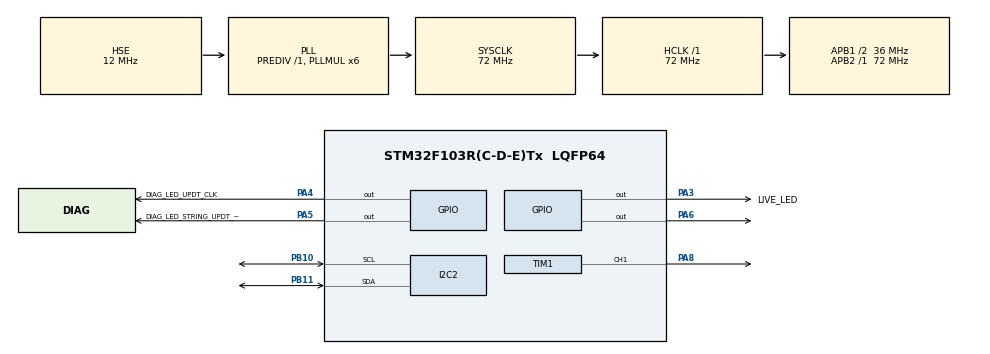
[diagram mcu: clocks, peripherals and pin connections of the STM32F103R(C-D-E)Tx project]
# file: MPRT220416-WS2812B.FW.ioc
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Dma.Request0=TIM1_CH1
Dma.TIM1_CH1.0.Direction=DMA_MEMORY_TO_PERIPH
Dma.TIM1_CH1.0.Instance=DMA1_Channel2
Dma.TIM1_CH1.0.MemDataAlignment=DMA_MDATAALIGN_WORD
Dma.TIM1_CH1.0.MemInc=DMA_MINC_ENABLE
Dma.TIM1_CH1.0.Mode=DMA_NORMAL
Dma.TIM1_CH1.0.PeriphDataAlignment=DMA_PDATAALIGN_WORD
Dma.TIM1_CH1.0.PeriphInc=DMA_PINC_DISABLE
Dma.TIM1_CH1.0.Priority=DMA_PRIORITY_LOW
Mcu.Family=STM32F1
Mcu.Name=STM32F103R(C-D-E)Tx
Mcu.Package=LQFP64
NVIC.DMA1_Channel2_IRQn=true\:0\:0\:false\:false\:true\:false\:true\:true
NVIC.PriorityGroup=NVIC_PRIORITYGROUP_4
PA10.Signal=USART1_RX
PA13.Mode=Trace_Asynchronous_SW
PA13.Signal=SYS_JTMS-SWDIO
PA14.Mode=Trace_Asynchronous_SW
PA14.Signal=SYS_JTCK-SWCLK
PA3.GPIO_Label=LIVE_LED
PA3.Signal=GPIO_Output
PA4.GPIO_Label=DIAG_LED_UPDT_CLK
PA4.Signal=GPIO_Output
PA5.GPIO_Label=DIAG_LED_STRING_UPDT_CLK
PA5.Signal=GPIO_Output
PA6.Signal=GPIO_Output
PA8.GPIO_ModeDefaultPP=GPIO_MODE_AF_PP
PA8.GPIO_Speed=GPIO_SPEED_FREQ_HIGH
PA8.Signal=S_TIM1_CH1
PA9.Signal=USART1_TX
PB10.Mode=I2C
PB10.Signal=I2C2_SCL
PB11.Mode=I2C
PB11.Signal=I2C2_SDA
PB3.Mode=Trace_Asynchronous_SW
PB3.Signal=SYS_JTDO-TRACESWO
PD0-OSC_IN.Mode=HSE-External-Oscillator
PD0-OSC_IN.Signal=RCC_OSC_IN
PD1-OSC_OUT.Mode=HSE-External-Oscillator
PD1-OSC_OUT.Signal=RCC_OSC_OUT
ProjectManager.HeapSize=0x200
ProjectManager.StackSize=0x400
ProjectManager.TargetToolchain=STM32CubeIDE
RCC.AHBFreq_Value=72000000
RCC.APB1CLKDivider=RCC_HCLK_DIV2
RCC.APB1Freq_Value=36000000
RCC.APB1TimFreq_Value=72000000
RCC.APB2Freq_Value=72000000
RCC.APB2TimFreq_Value=72000000
RCC.HCLKFreq_Value=72000000
RCC.HSE_VALUE=12000000
RCC.PLLMUL=RCC_PLL_MUL6
RCC.PLLSourceVirtual=RCC_PLLSOURCE_HSE
RCC.SYSCLKFreq_VALUE=72000000
RCC.SYSCLKSource=RCC_SYSCLKSOURCE_PLLCLK
RCC.USBFreq_Value=72000000
SH.S_TIM1_CH1.0=TIM1_CH1,PWM Generation1 CH1
TIM1.AutoReloadPreload=TIM_AUTORELOAD_PRELOAD_ENABLE
TIM1.Channel-PWM\ Generation1\ CH1=TIM_CHANNEL_1
TIM1.OC1Preload_PWM=ENABLE
TIM1.OCFastMode_PWM-PWM\ Generation1\ CH1=TIM_OCFAST_DISABLE
TIM1.Period=90
TIM1.Prescaler=0
TIM1.Pulse-PWM\ Generation1\ CH1=45
board=custom

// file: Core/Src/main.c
/* USER CODE BEGIN Header */
/**
  ******************************************************************************
  * @file           : main.c
  * @brief          : Main program body
  ******************************************************************************
  * @attention
  *
  * Copyright (c) 2022 STMicroelectronics.
  * All rights reserved.
  *
  * This software is licensed under terms that can be found in the LICENSE file
  * in the root directory of this software component.
  * If no LICENSE file comes with this software, it is provided AS-IS.
  *
  ******************************************************************************
  */
/* USER CODE END Header */
#include "main.h"

/* USER CODE BEGIN Includes */
#include <string.h>
#include <stdio.h>
#include <stdlib.h>
#include <ws2812b.h>
#include "LiveLed.h"
#include "vt100.h"
#include "ssd1306.h"

/* USER CODE END Includes */

/* USER CODE BEGIN PTD */
typedef struct _Device_t
{
  uint8_t DO;
  uint8_t DI;

  struct _Diag
  {
    uint32_t LcdTimeout;
    uint32_t UartUnknwonCnt;
    uint32_t UartErrorCnt;
    uint32_t UpTimeSec;
    uint32_t TransactionCnt;
  }Diag;

}Device_t;
/* USER CODE END PTD */

/* USER CODE BEGIN PD */

#define LED_COUNT   3

/* USER CODE END PD */

I2C_HandleTypeDef hi2c2;

TIM_HandleTypeDef htim1;
DMA_HandleTypeDef hdma_tim1_ch1;

/* USER CODE BEGIN PV */
LiveLED_HnadleTypeDef hLiveLed;
Device_t Device;

// WS2812B LED ---
uint32_t LedColorPattern[LED_COUNT];

/* USER CODE END PV */

void SystemClock_Config(void);
static void MX_GPIO_Init(void);
static void MX_DMA_Init(void);
static void MX_I2C2_Init(void);
static void MX_TIM1_Init(void);
/* USER CODE BEGIN PFP */

//--- Live LED ---
void LiveLedOn(void);
void LiveLedOff(void);

//--- Tools ---
void UpTimeTask(void);

/* USER CODE END PFP */

/* USER CODE BEGIN 0 */

//ez itt nem fut
void HAL_TIM_PeriodElapsedCallback(TIM_HandleTypeDef *htim)
{
  __NOP();
}

/* USER CODE END 0 */

int main(void)
{

  /* MCU Configuration--------------------------------------------------------*/

  /* Reset of all peripherals, Initializes the Flash interface and the Systick. */
  HAL_Init();

  /* Configure the system clock */
  SystemClock_Config();

  /* Initialize all configured peripherals */
  MX_GPIO_Init();
  MX_DMA_Init();
  MX_I2C2_Init();
  MX_TIM1_Init();
  /* USER CODE BEGIN 2 */
  printf(VT100_CLEARSCREEN);
  printf(VT100_CURSORHOME);
  printf(VT100_ATTR_RESET);
  printf("Hello, World!\r\n");

  //--- Display ---
  SSD1306_Init(&hi2c2, SSD1306_I2C_DEV_ADDRESS);
  DisplayClear();
  DisplayUpdate();
  DisplaySetCursor(0, 4);
  DisplayDrawString("Hello World", &FontType5x7, SSD1306_WHITE );
  DisplayUpdate();

  //--- LiveLed ---
  hLiveLed.LedOffFnPtr = &LiveLedOff;
  hLiveLed.LedOnFnPtr = &LiveLedOn;
  hLiveLed.HalfPeriodTimeMs = 500;
  LiveLedInit(&hLiveLed);

  //--- LEDs Strip ---
  WS2812B_Init(&htim1, &hdma_tim1_ch1, LedColorPattern, LED_COUNT);

  /* USER CODE END 2 */

  /* Infinite loop */
  /* USER CODE BEGIN WHILE */
  while (1)
  {
    static uint32_t timestamp;
    char string[50];

    if(HAL_GetTick() - timestamp > 250)
    {
      timestamp = HAL_GetTick();

      DisplayClear();
      DisplaySetCursor(5, 8);
      sprintf(string,"WS2812B\n"
                     "Uptime:%lu   ",
              Device.Diag.UpTimeSec);

      DisplayDrawString(string, &FontType5x7, SSD1306_WHITE );
      DisplayDrawLine(0, 0, SSD1306_WIDTH - 1, 0, SSD1306_WHITE);
      DisplayDrawLine(0, 0, 0, SSD1306_HEIGHT - 1, SSD1306_WHITE);
      DisplayDrawLine(0, SSD1306_HEIGHT - 1, SSD1306_WIDTH - 1, SSD1306_HEIGHT - 1, SSD1306_WHITE);
      DisplayDrawLine(SSD1306_WIDTH - 1, 0, SSD1306_WIDTH - 1, SSD1306_HEIGHT - 1, SSD1306_WHITE);
      DisplayUpdate();

      //0xXXRRGGBB
      LedColorPattern[0] =  0x0000FF;  //Blue
      LedColorPattern[1] =  0x00FF00;  //Green
      LedColorPattern[2] =  0xFF0000;  //Red
      WS2812B_SetBrightness(20, LedColorPattern, LED_COUNT);

    }

    LiveLedTask(&hLiveLed);
    UpTimeTask();
    WS2812B_Task();
    /* USER CODE END WHILE */

  }
}

void SystemClock_Config(void)
{
  RCC_OscInitTypeDef RCC_OscInitStruct = {0};
  RCC_ClkInitTypeDef RCC_ClkInitStruct = {0};

  /** Initializes the RCC Oscillators according to the specified parameters
  * in the RCC_OscInitTypeDef structure.
  */
  RCC_OscInitStruct.OscillatorType = RCC_OSCILLATORTYPE_HSE;
  RCC_OscInitStruct.HSEState = RCC_HSE_ON;
  RCC_OscInitStruct.HSEPredivValue = RCC_HSE_PREDIV_DIV1;
  RCC_OscInitStruct.HSIState = RCC_HSI_ON;
  RCC_OscInitStruct.PLL.PLLState = RCC_PLL_ON;
  RCC_OscInitStruct.PLL.PLLSource = RCC_PLLSOURCE_HSE;
  RCC_OscInitStruct.PLL.PLLMUL = RCC_PLL_MUL6;
  if (HAL_RCC_OscConfig(&RCC_OscInitStruct) != HAL_OK)
  {
    Error_Handler();
  }

  /** Initializes the CPU, AHB and APB buses clocks
  */
  RCC_ClkInitStruct.ClockType = RCC_CLOCKTYPE_HCLK|RCC_CLOCKTYPE_SYSCLK
                              |RCC_CLOCKTYPE_PCLK1|RCC_CLOCKTYPE_PCLK2;
  RCC_ClkInitStruct.SYSCLKSource = RCC_SYSCLKSOURCE_PLLCLK;
  RCC_ClkInitStruct.AHBCLKDivider = RCC_SYSCLK_DIV1;
  RCC_ClkInitStruct.APB1CLKDivider = RCC_HCLK_DIV2;
  RCC_ClkInitStruct.APB2CLKDivider = RCC_HCLK_DIV1;

  if (HAL_RCC_ClockConfig(&RCC_ClkInitStruct, FLASH_LATENCY_2) != HAL_OK)
  {
    Error_Handler();
  }
}

static void MX_I2C2_Init(void)
{

  hi2c2.Instance = I2C2;
  hi2c2.Init.ClockSpeed = 100000;
  hi2c2.Init.DutyCycle = I2C_DUTYCYCLE_2;
  hi2c2.Init.OwnAddress1 = 0;
  hi2c2.Init.AddressingMode = I2C_ADDRESSINGMODE_7BIT;
  hi2c2.Init.DualAddressMode = I2C_DUALADDRESS_DISABLE;
  hi2c2.Init.OwnAddress2 = 0;
  hi2c2.Init.GeneralCallMode = I2C_GENERALCALL_DISABLE;
  hi2c2.Init.NoStretchMode = I2C_NOSTRETCH_DISABLE;
  if (HAL_I2C_Init(&hi2c2) != HAL_OK)
  {
    Error_Handler();
  }

}

static void MX_TIM1_Init(void)
{

  TIM_MasterConfigTypeDef sMasterConfig = {0};
  TIM_OC_InitTypeDef sConfigOC = {0};
  TIM_BreakDeadTimeConfigTypeDef sBreakDeadTimeConfig = {0};

  htim1.Instance = TIM1;
  htim1.Init.Prescaler = 0;
  htim1.Init.CounterMode = TIM_COUNTERMODE_UP;
  htim1.Init.Period = 90;
  htim1.Init.ClockDivision = TIM_CLOCKDIVISION_DIV1;
  htim1.Init.RepetitionCounter = 0;
  htim1.Init.AutoReloadPreload = TIM_AUTORELOAD_PRELOAD_ENABLE;
  if (HAL_TIM_PWM_Init(&htim1) != HAL_OK)
  {
    Error_Handler();
  }
  sMasterConfig.MasterOutputTrigger = TIM_TRGO_RESET;
  sMasterConfig.MasterSlaveMode = TIM_MASTERSLAVEMODE_DISABLE;
  if (HAL_TIMEx_MasterConfigSynchronization(&htim1, &sMasterConfig) != HAL_OK)
  {
    Error_Handler();
  }
  sConfigOC.OCMode = TIM_OCMODE_PWM1;
  sConfigOC.Pulse = 45;
  sConfigOC.OCPolarity = TIM_OCPOLARITY_HIGH;
  sConfigOC.OCNPolarity = TIM_OCNPOLARITY_HIGH;
  sConfigOC.OCFastMode = TIM_OCFAST_DISABLE;
  sConfigOC.OCIdleState = TIM_OCIDLESTATE_RESET;
  sConfigOC.OCNIdleState = TIM_OCNIDLESTATE_RESET;
  if (HAL_TIM_PWM_ConfigChannel(&htim1, &sConfigOC, TIM_CHANNEL_1) != HAL_OK)
  {
    Error_Handler();
  }
  sBreakDeadTimeConfig.OffStateRunMode = TIM_OSSR_DISABLE;
  sBreakDeadTimeConfig.OffStateIDLEMode = TIM_OSSI_DISABLE;
  sBreakDeadTimeConfig.LockLevel = TIM_LOCKLEVEL_OFF;
  sBreakDeadTimeConfig.DeadTime = 0;
  sBreakDeadTimeConfig.BreakState = TIM_BREAK_DISABLE;
  sBreakDeadTimeConfig.BreakPolarity = TIM_BREAKPOLARITY_HIGH;
  sBreakDeadTimeConfig.AutomaticOutput = TIM_AUTOMATICOUTPUT_DISABLE;
  if (HAL_TIMEx_ConfigBreakDeadTime(&htim1, &sBreakDeadTimeConfig) != HAL_OK)
  {
    Error_Handler();
  }
  HAL_TIM_MspPostInit(&htim1);

}

static void MX_DMA_Init(void)
{

  /* DMA controller clock enable */
  __HAL_RCC_DMA1_CLK_ENABLE();

  /* DMA interrupt init */
  /* DMA1_Channel2_IRQn interrupt configuration */
  HAL_NVIC_SetPriority(DMA1_Channel2_IRQn, 0, 0);
  HAL_NVIC_EnableIRQ(DMA1_Channel2_IRQn);

}

static void MX_GPIO_Init(void)
{
  GPIO_InitTypeDef GPIO_InitStruct = {0};

  /* GPIO Ports Clock Enable */
  __HAL_RCC_GPIOD_CLK_ENABLE();
  __HAL_RCC_GPIOA_CLK_ENABLE();
  __HAL_RCC_GPIOB_CLK_ENABLE();

  /*Configure GPIO pin Output Level */
  HAL_GPIO_WritePin(GPIOA, LIVE_LED_Pin|DIAG_LED_UPDT_CLK_Pin|DIAG_LED_STRING_UPDT_CLK_Pin|GPIO_PIN_6, GPIO_PIN_RESET);

  /*Configure GPIO pins : LIVE_LED_Pin DIAG_LED_UPDT_CLK_Pin DIAG_LED_STRING_UPDT_CLK_Pin PA6 */
  GPIO_InitStruct.Pin = LIVE_LED_Pin|DIAG_LED_UPDT_CLK_Pin|DIAG_LED_STRING_UPDT_CLK_Pin|GPIO_PIN_6;
  GPIO_InitStruct.Mode = GPIO_MODE_OUTPUT_PP;
  GPIO_InitStruct.Pull = GPIO_NOPULL;
  GPIO_InitStruct.Speed = GPIO_SPEED_FREQ_LOW;
  HAL_GPIO_Init(GPIOA, &GPIO_InitStruct);

  /*Configure GPIO pin : PA9 */
  GPIO_InitStruct.Pin = GPIO_PIN_9;
  GPIO_InitStruct.Mode = GPIO_MODE_AF_PP;
  GPIO_InitStruct.Speed = GPIO_SPEED_FREQ_HIGH;
  HAL_GPIO_Init(GPIOA, &GPIO_InitStruct);

  /*Configure GPIO pin : PA10 */
  GPIO_InitStruct.Pin = GPIO_PIN_10;
  GPIO_InitStruct.Mode = GPIO_MODE_INPUT;
  GPIO_InitStruct.Pull = GPIO_NOPULL;
  HAL_GPIO_Init(GPIOA, &GPIO_InitStruct);

}

/* USER CODE BEGIN 4 */
/* Tools----------------------------------------------------------------------*/
void UpTimeTask(void)
{
  static uint32_t timestamp;
  if(HAL_GetTick() - timestamp > 1000)
  {
    timestamp = HAL_GetTick();
    Device.Diag.UpTimeSec++;
  }
}
/* LEDs ---------------------------------------------------------------------*/
void LiveLedOn(void)
{
  HAL_GPIO_WritePin(LIVE_LED_GPIO_Port, LIVE_LED_Pin, GPIO_PIN_SET);
}

void LiveLedOff(void)
{
  HAL_GPIO_WritePin(LIVE_LED_GPIO_Port, LIVE_LED_Pin, GPIO_PIN_RESET);
}
/* printf --------------------------------------------------------------------*/
int _write(int file, char *ptr, int len)
{
  //HAL_UART_Transmit(&huart1, (uint8_t*)ptr, len, 100);
  int i=0;
  for(i=0 ; i<len ; i++)
    ITM_SendChar((*ptr++));
  return len;
}

/* USER CODE END 4 */

void Error_Handler(void)
{
  __disable_irq();
  while (1)
  {
  }
}
